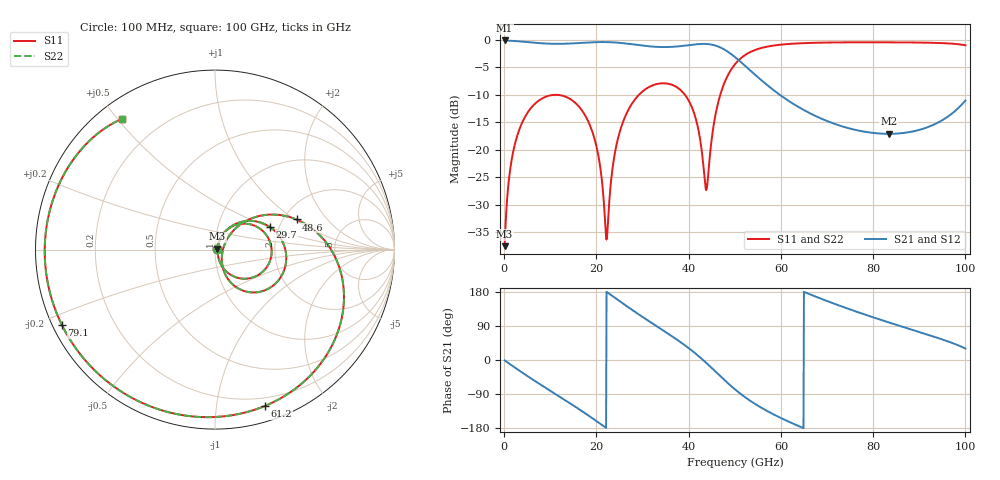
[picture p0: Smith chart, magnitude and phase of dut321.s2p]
! Touchstone file exported from HFSS 2026.1.0
!  File:  C:/ffzhzh/LocalFiles/Ansys_Project_Files/temp_train_TSV_RDL_321_1783701770_45164.aedt
!  Generated:  12:48:56 AM Jul 11, 2026
!  Design:  TSV_RDL
!  Project:  temp_train_TSV_RDL_321_1783701770_45164
! Variables:
!  h_bsmrdl = 4.27um
!  h_ox = 20um
!  h_rdl = 5um
!  h_sub = 99.96um
!  h_tmrdl = 4.88um
!  h_tsv = 99.96um
!  h_via = 3um
!  l_bsmrdl = 382.28um
!  l_sub = 2130.1um
!  l_tmrdl = 118.47um
!  m_sub = 200um
!  pitch = 40.35um
!  r_tsv = 13.62um
!  s_tmrdl = 10um
!  w_bsmrdl = 10.08um
!  w_sub = 500um
!  w_tmrdl = 26.38um
!  x_tsv_center1 = 131.66um
!  x_tsv_center2 = 524.02um
!  x_tsv_center3 = 668.87um
!  x_tsv_center4 = 1061.23um
!  x_tsv_center5 = 1206.08um
!  x_tsv_center6 = 1598.44um
# GHz S MA R 50.000000
! Terminal data exported
! Port[1] = TM_RDL1_1_T1
! Port[2] = TM_RDL5_1_T1
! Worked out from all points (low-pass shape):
!   1000 points, 100 MHz to 100 GHz, reference 50 ohm
!   highest |S21| = -0.11 dB at 100 MHz (marker M1); lowest = -17.1 dB at 83.4 GHz (marker M2)
!   |S21| within 3 dB of the highest: start of sweep to 50.01 GHz
!   lowest |S11| = -37.6 dB at 100 MHz (marker M3), VSWR 1.03, Z = 51.2 + j0.549 ohm
!   |S11| at or under -10 dB: start of sweep to 29.22 GHz; 39.19 GHz to 46.86 GHz (7.667 GHz wide, 17.8 % of centre)
!   |S22| runs from -37.6 to -0.4 dB; largest |S21 - S12| = 5.3e-14
!   S11 on the Smith chart (normalised r, x): 100 MHz: 1.02, +0.01; 29.7 GHz: 1.79, +0.51; 48.6 GHz: 2.35, +1.03; 61.2 GHz: 0.13, -1.36; 79.1 GHz: 0.03, -0.23; 100 GHz: 0.07, +0.52
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0.1  0.01323 23.9  0.988 -0.9  0.988 -0.9  0.01323 23.9
! Gamma 0 0 0 0
! Port Impedance 50 0 50 0
1.8  0.08873 64.0  0.98 -15.5  0.98 -15.5  0.08873 64.0
4.9  0.2115 43.1  0.9558 -41.3  0.9558 -41.3  0.2115 43.1
10.9  0.3159 -1.5  0.921 -88.1  0.921 -88.1  0.3159 -1.4
16.8  0.23 -44.9  0.9386 -134.3  0.9386 -134.3  0.23 -44.9
20.1  0.1031 -67.0  0.9538 -161.9  0.9538 -161.9  0.1031 -66.8
22.2  0.01519 -3.5  0.9548 179.9  0.9548 179.9  0.01551 -3.3
24.8  0.1325 58.3  0.9417 157.3  0.9417 157.3  0.1326 58.1
29.7  0.3307 22.4  0.8903 116.1  0.8903 116.1  0.3307 22.3
33.4  0.3986 -5.4  0.8625 86.6  0.8625 86.6  0.3986 -5.4
40.3  0.2655 -57.3  0.8981 28.6  0.8981 28.6  0.2655 -57.2
43.8  0.04287 -13.9  0.9178 -7.4  0.9178 -7.4  0.04365 -13.8
46  0.2271 43.3  0.8822 -32.6  0.8822 -32.6  0.2274 43.1
48.6  0.4843 20.3  0.7748 -62.2  0.7748 -62.2  0.4845 20.2
50.1  0.6038 5.9  0.6944 -78.0  0.6944 -78.0  0.604 5.8
54.6  0.8146 -31.4  0.4733 -117.5  0.4733 -117.5  0.8147 -31.4
61.2  0.9145 -72.3  0.287 -160.0  0.287 -160.0  0.9146 -72.3
66.7  0.9393 -100.2  0.2106 171.3  0.2106 171.3  0.9394 -100.2
79.1  0.9507 -153.8  0.1437 116.3  0.1437 116.3  0.9509 -153.8
83.4  0.9499 -170.5  0.1395 99.1  0.1395 99.1  0.9501 -170.4
92  0.9422 157.6  0.1614 66.1  0.1614 66.1  0.9424 157.7
100  0.8934 125.3  0.2805 30.3  0.2805 30.3  0.8937 125.4
